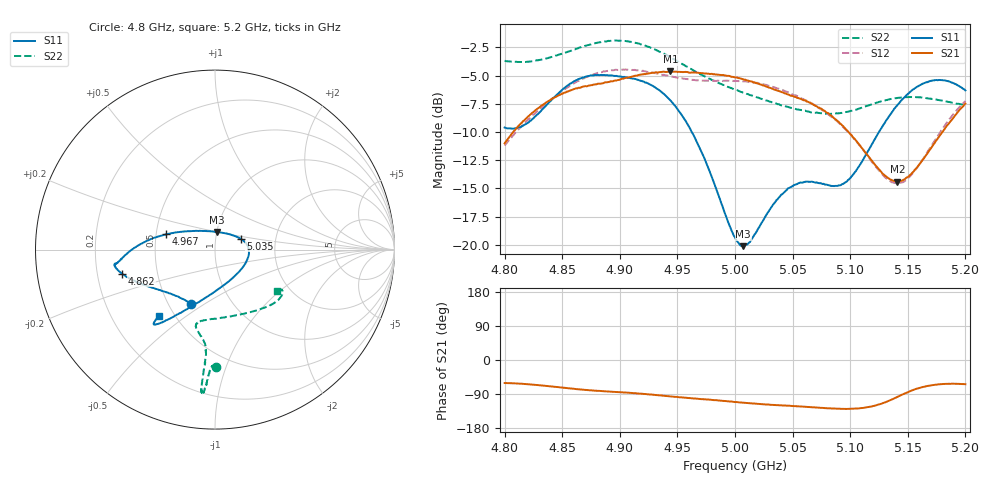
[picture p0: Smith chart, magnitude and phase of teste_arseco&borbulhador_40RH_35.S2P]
! Network Analyzer HP8722D
! Hewlett-Packard
! Data name: Linha & Wilkinson
! Saver's name: Rodrigo Anjos
! Comments: Teste da utilização de aquisição
! continua pelo VNA HP8722D
! Time and date: 15/4/2025 16:38
!  Frequency  S11  S21  S12  S22
# HZ  S  MA R 50
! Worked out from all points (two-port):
!   401 points, 4.8 GHz to 5.2 GHz, reference 50 ohm
!   highest |S21| = -4.63 dB at 4.944 GHz (marker M1); lowest = -14.4 dB at 5.141 GHz (marker M2)
!   |S21| within 3 dB of the highest: 4.833 GHz to 5.069 GHz (236.5 MHz wide, 4.78 % of centre); 5.198679 GHz to end of sweep
!   lowest |S11| = -20.1 dB at 5.007 GHz (marker M3), VSWR 1.22, Z = 50.1 + j9.91 ohm
!   |S11| at or under -10 dB: 4.962 GHz to 5.125 GHz (162.5 MHz wide, 3.22 % of centre)
!   |S22| runs from -8.4 to -1.9 dB; largest |S21 - S12| = 0.88
!   S11 on the Smith chart (normalised r, x): 4.8 GHz: 0.65, -0.44; 4.862 GHz: 0.31, -0.11; 4.967 GHz: 0.57, +0.10; 5.035 GHz: 1.32, +0.17; 5.2 GHz: 0.41, -0.40
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4.8e9  0.331 -113.6  0.2816 -60.8  0.2751 -175.0  0.6544 -89.5
4.819e9  0.3444 -133.4  0.3637 -63.6  0.3522 -173.2  0.6475 -91.2
4.862e9  0.5361 -165.6  0.4939 -76.7  0.526 -176.5  0.7397 -93.5
4.867e9  0.5488 -167.4  0.5005 -78.2  0.5422 -177.4  0.7547 -93.7
4.899e9  0.558 -171.9  0.5378 -84.9  0.5966 176.0  0.8029 -95.1
4.934e9  0.4858 -177.9  0.5826 -93.3  0.5739 172.0  0.7194 -95.5
4.944e9  0.4363 177.6  0.5869 -96.1  0.5588 172.0  0.6794 -95.3
4.967e9  0.2851 162.6  0.5789 -102.1  0.5354 174.1  0.5802 -94.9
5e9  0.1077 107.4  0.5519 -111.0  0.5342 176.5  0.487 -99.2
5.007e9  0.09849 83.8  0.5421 -112.7  0.5299 176.5  0.4726 -100.9
5.014e9  0.1049 61.5  0.5305 -114.6  0.5267 176.3  0.4599 -102.5
5.035e9  0.1548 23.4  0.4863 -118.9  0.4974 175.3  0.4246 -103.9
5.05e9  0.182 7.3  0.4569 -121.6  0.4642 174.6  0.4034 -100.3
5.067e9  0.1901 -11.0  0.421 -124.5  0.423 174.1  0.3872 -92.0
5.087e9  0.1824 -43.4  0.3607 -128.5  0.3579 173.9  0.3821 -77.0
5.098e9  0.1932 -66.9  0.3186 -129.0  0.3173 174.5  0.3887 -67.7
5.134e9  0.3728 -116.0  0.196 -107.1  0.1921 -159.8  0.4412 -43.4
5.141e9  0.416 -119.9  0.1906 -97.3  0.1872 -148.9  0.4477 -40.2
5.154e9  0.486 -125.0  0.2088 -79.9  0.2067 -128.8  0.4515 -35.6
5.17e9  0.5333 -128.4  0.2671 -66.9  0.2718 -113.0  0.4443 -32.0
5.184e9  0.5323 -129.8  0.3379 -63.0  0.3484 -107.2  0.4315 -31.1
5.2e9  0.4832 -130.2  0.4227 -63.9  0.4336 -106.0  0.4154 -33.4
